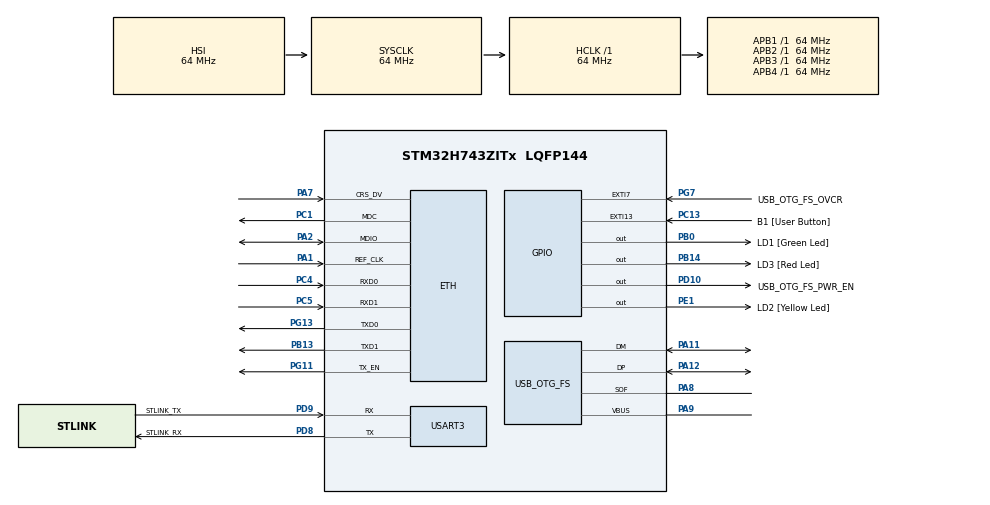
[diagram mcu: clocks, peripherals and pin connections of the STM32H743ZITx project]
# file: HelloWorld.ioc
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ETH.MediaInterface=HAL_ETH_RMII_MODE
Mcu.Family=STM32H7
Mcu.Name=STM32H743ZITx
Mcu.Package=LQFP144
NVIC.EXTI15_10_IRQn=true\:7\:0\:true\:false\:true\:true\:true\:true
NVIC.PriorityGroup=NVIC_PRIORITYGROUP_4
PA1.Mode=RMII
PA1.Signal=ETH_REF_CLK
PA11.Mode=Device_Only
PA11.Signal=USB_OTG_FS_DM
PA12.Mode=Device_Only
PA12.Signal=USB_OTG_FS_DP
PA2.Mode=RMII
PA2.Signal=ETH_MDIO
PA7.Mode=RMII
PA7.Signal=ETH_CRS_DV
PA8.Mode=Activate_SOF_FS
PA8.Signal=USB_OTG_FS_SOF
PA9.Mode=Activate_VBUS
PA9.Signal=USB_OTG_FS_VBUS
PB0.GPIO_Label=LD1 [Green Led]
PB0.Signal=GPIO_Output
PB13.Mode=RMII
PB13.Signal=ETH_TXD1
PB14.GPIO_Label=LD3 [Red Led]
PB14.Signal=GPIO_Output
PC1.Mode=RMII
PC1.Signal=ETH_MDC
PC13.GPIO_Label=B1 [User Button]
PC13.Signal=GPXTI13
PC14-OSC32_IN\ (OSC32_IN).Mode=LSE-External-Oscillator
PC14-OSC32_IN\ (OSC32_IN).Signal=RCC_OSC32_IN
PC15-OSC32_OUT\ (OSC32_OUT).Mode=LSE-External-Oscillator
PC15-OSC32_OUT\ (OSC32_OUT).Signal=RCC_OSC32_OUT
PC4.Mode=RMII
PC4.Signal=ETH_RXD0
PC5.Mode=RMII
PC5.Signal=ETH_RXD1
PD10.GPIO_Label=USB_OTG_FS_PWR_EN
PD10.Signal=GPIO_Output
PD8.GPIO_Label=STLINK_RX
PD8.Mode=Asynchronous
PD8.Signal=USART3_TX
PD9.GPIO_Label=STLINK_TX
PD9.Mode=Asynchronous
PD9.Signal=USART3_RX
PE1.GPIO_Label=LD2 [Yellow Led]
PE1.Signal=GPIO_Output
PG11.Mode=RMII
PG11.Signal=ETH_TX_EN
PG13.Mode=RMII
PG13.Signal=ETH_TXD0
PG7.GPIO_Label=USB_OTG_FS_OVCR
PG7.Signal=GPXTI7
PH0-OSC_IN\ (PH0).Mode=HSE-External-Clock-Source
PH0-OSC_IN\ (PH0).Signal=RCC_OSC_IN
PH1-OSC_OUT\ (PH1).Signal=RCC_OSC_OUT
ProjectManager.HeapSize=0x200
ProjectManager.StackSize=0x400
ProjectManager.TargetToolchain=STM32CubeIDE
RCC.ADCFreq_Value=16125000
RCC.APB1Freq_Value=64000000
RCC.APB2Freq_Value=64000000
RCC.APB3Freq_Value=64000000
RCC.APB4Freq_Value=64000000
RCC.CortexFreq_Value=64000000
RCC.DIVM1=1
RCC.DIVN1=24
RCC.DIVQ1=4
RCC.HCLKFreq_Value=64000000
RCC.HSE_VALUE=8000000
RCC.PLLFRACN=0
RCC.PWR_Regulator_Voltage_Scale=PWR_REGULATOR_VOLTAGE_SCALE2
RCC.SYSCLKFreq_VALUE=64000000
RCC.USBFreq_Value=48000000
USART3.VirtualMode-Asynchronous=VM_ASYNC
USB_OTG_FS.VirtualMode=Device_Only
board=NUCLEO-H743ZI2

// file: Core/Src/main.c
/* USER CODE BEGIN Header */
/**
  ******************************************************************************
  * @file           : main.c
  * @brief          : Main program body
  ******************************************************************************
  * @attention
  *
  * Copyright (c) 2023 STMicroelectronics.
  * All rights reserved.
  *
  * This software is licensed under terms that can be found in the LICENSE file
  * in the root directory of this software component.
  * If no LICENSE file comes with this software, it is provided AS-IS.
  *
  ******************************************************************************
  */
/* USER CODE END Header */
#include "main.h"
#include "string.h"

/* USER CODE BEGIN Includes */
#include <stdint.h>
#include <stdbool.h>
/* USER CODE END Includes */

/* USER CODE BEGIN PTD */
struct GPIO_Port_Pin_S
{
  GPIO_TypeDef * port;
  uint16_t pin;
};
/* USER CODE END PTD */

/* USER CODE BEGIN PD */
#define BASE_DELAY_TIME     100    // milliseconds
#define DEBOUNCE_WAIT_TIME  5
/* USER CODE END PD */

#if defined ( __ICCARM__ ) /*!< IAR Compiler */
#pragma location=0x30000000
ETH_DMADescTypeDef  DMARxDscrTab[ETH_RX_DESC_CNT]; /* Ethernet Rx DMA Descriptors */
#pragma location=0x30000200
ETH_DMADescTypeDef  DMATxDscrTab[ETH_TX_DESC_CNT]; /* Ethernet Tx DMA Descriptors */

#elif defined ( __CC_ARM )  /* MDK ARM Compiler */

__attribute__((at(0x30000000))) ETH_DMADescTypeDef  DMARxDscrTab[ETH_RX_DESC_CNT]; /* Ethernet Rx DMA Descriptors */
__attribute__((at(0x30000200))) ETH_DMADescTypeDef  DMATxDscrTab[ETH_TX_DESC_CNT]; /* Ethernet Tx DMA Descriptors */

#elif defined ( __GNUC__ ) /* GNU Compiler */
ETH_DMADescTypeDef DMARxDscrTab[ETH_RX_DESC_CNT] __attribute__((section(".RxDecripSection"))); /* Ethernet Rx DMA Descriptors */
ETH_DMADescTypeDef DMATxDscrTab[ETH_TX_DESC_CNT] __attribute__((section(".TxDecripSection")));   /* Ethernet Tx DMA Descriptors */

#endif

ETH_TxPacketConfig TxConfig;

ETH_HandleTypeDef heth;

UART_HandleTypeDef huart3;

PCD_HandleTypeDef hpcd_USB_OTG_FS;

/* USER CODE BEGIN PV */

static volatile bool ChangeLED;   // Used in the EXTI13 ISR to indicate button has been pressed and next LED should be selected

/* USER CODE END PV */

void SystemClock_Config(void);
static void MX_GPIO_Init(void);
static void MX_ETH_Init(void);
static void MX_USART3_UART_Init(void);
static void MX_USB_OTG_FS_PCD_Init(void);

int main(void)
{

  /* MCU Configuration--------------------------------------------------------*/

  /* Reset of all peripherals, Initializes the Flash interface and the Systick. */
  HAL_Init();

  /* Configure the system clock */
  SystemClock_Config();

  /* Initialize all configured peripherals */
  MX_GPIO_Init();
  MX_ETH_Init();
  MX_USART3_UART_Init();
  MX_USB_OTG_FS_PCD_Init();

  /* Infinite loop */
  /* USER CODE BEGIN WHILE */
  while (1)
  {
    // Declarations and definitions for blink timing
    static const uint8_t DELAY_MULTIPLIERS[] =
    {
      16, 16,
      8, 8, 8, 8,
      4, 4, 4, 4, 4, 4, 4, 4,
      2, 2, 2, 2, 2, 2, 2, 2, 2, 2, 2, 2, 2, 2, 2, 2,
      1, 1, 1, 1, 1, 1, 1, 1, 1, 1, 1, 1, 1, 1, 1, 1, 1, 1, 1, 1, 1, 1, 1, 1, 1, 1, 1, 1, 1, 1, 1, 1,
      2, 2, 2, 2, 2, 2, 2, 2, 2, 2, 2, 2, 2, 2, 2, 2,
      4, 4, 4, 4, 4, 4, 4, 4,
      8, 8, 8, 8,
      16, 16,
    };
    static uint8_t Delay_Idx = 0;

    // Declarations and definitions for LED selection
    static const struct GPIO_Port_Pin_S LED_OPTIONS_TABLE[] =
    {
      { LD1_GPIO_Port,  LD1_Pin },
      { LD2_GPIO_Port,  LD2_Pin },
      { LD3_GPIO_Port,  LD3_Pin },
    };
    static uint8_t LED_Idx = 0;

    // Check if B1 ISR was triggered, and if yes, switch to next LED
    if ( ChangeLED == true )
    {
      ChangeLED = false;  // reset interrupt flag
      HAL_Delay( DEBOUNCE_WAIT_TIME );  // TODO: Handle debounces without a delay...
      LED_Idx++;
      // Wrap-around if past table bounds
      if ( LED_Idx >= (sizeof(LED_OPTIONS_TABLE) / sizeof(struct GPIO_Port_Pin_S)) )
      {
        LED_Idx = 0;
      }
    }

    // Toggle the LED
    HAL_GPIO_TogglePin( LED_OPTIONS_TABLE[LED_Idx].port, LED_OPTIONS_TABLE[LED_Idx].pin );

    // Wait this cycle's time
    HAL_Delay( BASE_DELAY_TIME * DELAY_MULTIPLIERS[Delay_Idx] );

    // Increment the delay index to get the next cycle's delay time, include wrap-around
    Delay_Idx++;
    if ( Delay_Idx >= ( sizeof(DELAY_MULTIPLIERS) / sizeof(uint8_t) ) )
    {
      Delay_Idx = 0;
    }

    /* USER CODE END WHILE */

  }
}

void SystemClock_Config(void)
{
  RCC_OscInitTypeDef RCC_OscInitStruct = {0};
  RCC_ClkInitTypeDef RCC_ClkInitStruct = {0};

  /** Supply configuration update enable
  */
  HAL_PWREx_ConfigSupply(PWR_LDO_SUPPLY);

  /** Configure the main internal regulator output voltage
  */
  __HAL_PWR_VOLTAGESCALING_CONFIG(PWR_REGULATOR_VOLTAGE_SCALE2);

  while(!__HAL_PWR_GET_FLAG(PWR_FLAG_VOSRDY)) {}

  /** Initializes the RCC Oscillators according to the specified parameters
  * in the RCC_OscInitTypeDef structure.
  */
  RCC_OscInitStruct.OscillatorType = RCC_OSCILLATORTYPE_HSI|RCC_OSCILLATORTYPE_HSE;
  RCC_OscInitStruct.HSEState = RCC_HSE_BYPASS;
  RCC_OscInitStruct.HSIState = RCC_HSI_DIV1;
  RCC_OscInitStruct.HSICalibrationValue = RCC_HSICALIBRATION_DEFAULT;
  RCC_OscInitStruct.PLL.PLLState = RCC_PLL_ON;
  RCC_OscInitStruct.PLL.PLLSource = RCC_PLLSOURCE_HSE;
  RCC_OscInitStruct.PLL.PLLM = 1;
  RCC_OscInitStruct.PLL.PLLN = 24;
  RCC_OscInitStruct.PLL.PLLP = 2;
  RCC_OscInitStruct.PLL.PLLQ = 4;
  RCC_OscInitStruct.PLL.PLLR = 2;
  RCC_OscInitStruct.PLL.PLLRGE = RCC_PLL1VCIRANGE_3;
  RCC_OscInitStruct.PLL.PLLVCOSEL = RCC_PLL1VCOWIDE;
  RCC_OscInitStruct.PLL.PLLFRACN = 0;
  if (HAL_RCC_OscConfig(&RCC_OscInitStruct) != HAL_OK)
  {
    Error_Handler();
  }

  /** Initializes the CPU, AHB and APB buses clocks
  */
  RCC_ClkInitStruct.ClockType = RCC_CLOCKTYPE_HCLK|RCC_CLOCKTYPE_SYSCLK
                              |RCC_CLOCKTYPE_PCLK1|RCC_CLOCKTYPE_PCLK2
                              |RCC_CLOCKTYPE_D3PCLK1|RCC_CLOCKTYPE_D1PCLK1;
  RCC_ClkInitStruct.SYSCLKSource = RCC_SYSCLKSOURCE_HSI;
  RCC_ClkInitStruct.SYSCLKDivider = RCC_SYSCLK_DIV1;
  RCC_ClkInitStruct.AHBCLKDivider = RCC_HCLK_DIV1;
  RCC_ClkInitStruct.APB3CLKDivider = RCC_APB3_DIV1;
  RCC_ClkInitStruct.APB1CLKDivider = RCC_APB1_DIV1;
  RCC_ClkInitStruct.APB2CLKDivider = RCC_APB2_DIV1;
  RCC_ClkInitStruct.APB4CLKDivider = RCC_APB4_DIV1;

  if (HAL_RCC_ClockConfig(&RCC_ClkInitStruct, FLASH_LATENCY_1) != HAL_OK)
  {
    Error_Handler();
  }
}

static void MX_ETH_Init(void)
{

   static uint8_t MACAddr[6];

  heth.Instance = ETH;
  MACAddr[0] = 0x00;
  MACAddr[1] = 0x80;
  MACAddr[2] = 0xE1;
  MACAddr[3] = 0x00;
  MACAddr[4] = 0x00;
  MACAddr[5] = 0x00;
  heth.Init.MACAddr = &MACAddr[0];
  heth.Init.MediaInterface = HAL_ETH_RMII_MODE;
  heth.Init.TxDesc = DMATxDscrTab;
  heth.Init.RxDesc = DMARxDscrTab;
  heth.Init.RxBuffLen = 1524;

  if (HAL_ETH_Init(&heth) != HAL_OK)
  {
    Error_Handler();
  }

  memset(&TxConfig, 0 , sizeof(ETH_TxPacketConfig));
  TxConfig.Attributes = ETH_TX_PACKETS_FEATURES_CSUM | ETH_TX_PACKETS_FEATURES_CRCPAD;
  TxConfig.ChecksumCtrl = ETH_CHECKSUM_IPHDR_PAYLOAD_INSERT_PHDR_CALC;
  TxConfig.CRCPadCtrl = ETH_CRC_PAD_INSERT;

}

static void MX_USART3_UART_Init(void)
{

  huart3.Instance = USART3;
  huart3.Init.BaudRate = 115200;
  huart3.Init.WordLength = UART_WORDLENGTH_8B;
  huart3.Init.StopBits = UART_STOPBITS_1;
  huart3.Init.Parity = UART_PARITY_NONE;
  huart3.Init.Mode = UART_MODE_TX_RX;
  huart3.Init.HwFlowCtl = UART_HWCONTROL_NONE;
  huart3.Init.OverSampling = UART_OVERSAMPLING_16;
  huart3.Init.OneBitSampling = UART_ONE_BIT_SAMPLE_DISABLE;
  huart3.Init.ClockPrescaler = UART_PRESCALER_DIV1;
  huart3.AdvancedInit.AdvFeatureInit = UART_ADVFEATURE_NO_INIT;
  if (HAL_UART_Init(&huart3) != HAL_OK)
  {
    Error_Handler();
  }
  if (HAL_UARTEx_SetTxFifoThreshold(&huart3, UART_TXFIFO_THRESHOLD_1_8) != HAL_OK)
  {
    Error_Handler();
  }
  if (HAL_UARTEx_SetRxFifoThreshold(&huart3, UART_RXFIFO_THRESHOLD_1_8) != HAL_OK)
  {
    Error_Handler();
  }
  if (HAL_UARTEx_DisableFifoMode(&huart3) != HAL_OK)
  {
    Error_Handler();
  }

}

static void MX_USB_OTG_FS_PCD_Init(void)
{

  hpcd_USB_OTG_FS.Instance = USB_OTG_FS;
  hpcd_USB_OTG_FS.Init.dev_endpoints = 9;
  hpcd_USB_OTG_FS.Init.speed = PCD_SPEED_FULL;
  hpcd_USB_OTG_FS.Init.dma_enable = DISABLE;
  hpcd_USB_OTG_FS.Init.phy_itface = PCD_PHY_EMBEDDED;
  hpcd_USB_OTG_FS.Init.Sof_enable = ENABLE;
  hpcd_USB_OTG_FS.Init.low_power_enable = DISABLE;
  hpcd_USB_OTG_FS.Init.lpm_enable = DISABLE;
  hpcd_USB_OTG_FS.Init.battery_charging_enable = ENABLE;
  hpcd_USB_OTG_FS.Init.vbus_sensing_enable = ENABLE;
  hpcd_USB_OTG_FS.Init.use_dedicated_ep1 = DISABLE;
  if (HAL_PCD_Init(&hpcd_USB_OTG_FS) != HAL_OK)
  {
    Error_Handler();
  }

}

static void MX_GPIO_Init(void)
{
  GPIO_InitTypeDef GPIO_InitStruct = {0};

  /* GPIO Ports Clock Enable */
  __HAL_RCC_GPIOC_CLK_ENABLE();
  __HAL_RCC_GPIOH_CLK_ENABLE();
  __HAL_RCC_GPIOA_CLK_ENABLE();
  __HAL_RCC_GPIOB_CLK_ENABLE();
  __HAL_RCC_GPIOD_CLK_ENABLE();
  __HAL_RCC_GPIOG_CLK_ENABLE();
  __HAL_RCC_GPIOE_CLK_ENABLE();

  /*Configure GPIO pin Output Level */
  HAL_GPIO_WritePin(GPIOB, LD1_Pin|LD3_Pin, GPIO_PIN_RESET);

  /*Configure GPIO pin Output Level */
  HAL_GPIO_WritePin(USB_OTG_FS_PWR_EN_GPIO_Port, USB_OTG_FS_PWR_EN_Pin, GPIO_PIN_RESET);

  /*Configure GPIO pin Output Level */
  HAL_GPIO_WritePin(LD2_GPIO_Port, LD2_Pin, GPIO_PIN_RESET);

  /*Configure GPIO pin : B1_Pin */
  GPIO_InitStruct.Pin = B1_Pin;
  GPIO_InitStruct.Mode = GPIO_MODE_IT_RISING;
  GPIO_InitStruct.Pull = GPIO_NOPULL;
  HAL_GPIO_Init(B1_GPIO_Port, &GPIO_InitStruct);

  /*Configure GPIO pins : LD1_Pin LD3_Pin */
  GPIO_InitStruct.Pin = LD1_Pin|LD3_Pin;
  GPIO_InitStruct.Mode = GPIO_MODE_OUTPUT_PP;
  GPIO_InitStruct.Pull = GPIO_NOPULL;
  GPIO_InitStruct.Speed = GPIO_SPEED_FREQ_LOW;
  HAL_GPIO_Init(GPIOB, &GPIO_InitStruct);

  /*Configure GPIO pin : USB_OTG_FS_PWR_EN_Pin */
  GPIO_InitStruct.Pin = USB_OTG_FS_PWR_EN_Pin;
  GPIO_InitStruct.Mode = GPIO_MODE_OUTPUT_PP;
  GPIO_InitStruct.Pull = GPIO_NOPULL;
  GPIO_InitStruct.Speed = GPIO_SPEED_FREQ_LOW;
  HAL_GPIO_Init(USB_OTG_FS_PWR_EN_GPIO_Port, &GPIO_InitStruct);

  /*Configure GPIO pin : USB_OTG_FS_OVCR_Pin */
  GPIO_InitStruct.Pin = USB_OTG_FS_OVCR_Pin;
  GPIO_InitStruct.Mode = GPIO_MODE_IT_RISING;
  GPIO_InitStruct.Pull = GPIO_NOPULL;
  HAL_GPIO_Init(USB_OTG_FS_OVCR_GPIO_Port, &GPIO_InitStruct);

  /*Configure GPIO pin : LD2_Pin */
  GPIO_InitStruct.Pin = LD2_Pin;
  GPIO_InitStruct.Mode = GPIO_MODE_OUTPUT_PP;
  GPIO_InitStruct.Pull = GPIO_NOPULL;
  GPIO_InitStruct.Speed = GPIO_SPEED_FREQ_LOW;
  HAL_GPIO_Init(LD2_GPIO_Port, &GPIO_InitStruct);

  /* EXTI interrupt init*/
  HAL_NVIC_SetPriority(EXTI15_10_IRQn, 7, 0);
  HAL_NVIC_EnableIRQ(EXTI15_10_IRQn);

}

/* USER CODE BEGIN 4 */

/**
  * @brief EXTI line detection callback for B1 rising edge.
  * @note This replaces the __weak definition written in stm32h7xx_hal_gpio.c.
  * @param GPIO_Pin: Specifies the pins connected EXTI line
  * @retval None
  */
void HAL_GPIO_EXTI_Callback(uint16_t GPIO_Pin)
{
  if ( GPIO_Pin == B1_Pin )
  {
    ChangeLED = true;
  }
}

/* USER CODE END 4 */

void Error_Handler(void)
{
  __disable_irq();
  while (1)
  {
  }
}
